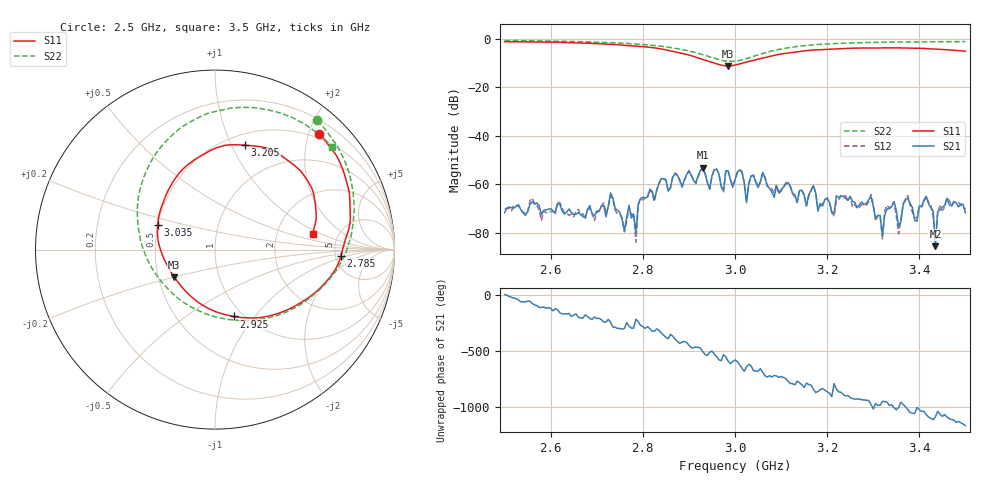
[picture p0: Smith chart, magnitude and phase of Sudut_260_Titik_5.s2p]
# Hz S RI R 50
! CMT, C1220, 16058040, 17.2.0/1
! Date: 15/08/2018 10:26:55
! Data: Format (Calibration Info)
! Freq  S11: Re/Im (F2)  S21: Re/Im (F2)  S12: Re/Im (F2)  S22: Re/Im (F2)
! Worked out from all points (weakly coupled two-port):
!   201 points, 2.5 GHz to 3.5 GHz, reference 50 ohm
!   highest |S21| = -53.16 dB at 2.93 GHz (marker M1); lowest = -85.5 dB at 3.435 GHz (marker M2)
!   lowest |S11| = -11.2 dB at 2.985 GHz (marker M3), VSWR 1.76, Z = 30.3 - j10.2 ohm
!   |S11| at or under -10 dB: 2.954 GHz to 3.017 GHz (63.09 MHz wide, 2.11 % of centre)
!   |S22| runs from -9.4 to -0.7 dB; largest |S21 - S12| = 0.00015
!   S11 on the Smith chart (normalised r, x): 2.5 GHz: 0.42, +2.19; 2.785 GHz: 5.62, -0.78; 2.925 GHz: 0.90, -0.79; 3.035 GHz: 0.50, +0.16; 3.205 GHz: 0.61, +1.13; 3.5 GHz: 3.23, +0.81
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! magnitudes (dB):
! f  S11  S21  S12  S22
! 2.5 GHz  -1.2  -71.7  -70.3  -0.7
! 2.67 GHz  -1.8  -73.3  -72.2  -1.3
! 2.73 GHz  -2.3  -63.6  -64.8  -1.7
! 2.785 GHz  -3.1  -80.1  -83.8  -2.2
! 2.795 GHz  -3.2  -66.0  -65.3  -2.3
! 2.835 GHz  -4.1  -59.5  -59.8  -3.0
! 2.925 GHz  -8.2  -54.1  -54.7  -6.3
! 2.93 GHz  -8.6  -53.2  -53.1  -6.6
! 2.985 GHz  -11.2  -54.4  -54.2  -9.3
! 3 GHz  -10.9  -58.2  -58.2  -9.3
! 3.025 GHz  -9.6  -67.6  -66.9  -8.2
! 3.035 GHz  -9.2  -56.6  -56.6  -7.6
! 3.17 GHz  -4.7  -60.5  -60.5  -2.5
! 3.205 GHz  -4.4  -67.4  -67.8  -2.1
! 3.295 GHz  -3.9  -65.1  -64.2  -1.6
! 3.32 GHz  -3.8  -80.8  -82.6  -1.5
! 3.335 GHz  -3.8  -70.0  -69.7  -1.4
! 3.355 GHz  -3.8  -77.4  -80.5  -1.4
! 3.415 GHz  -4.1  -65.0  -64.8  -1.3
! 3.435 GHz  -4.3  -85.5  -81.2  -1.3
! 3.46 GHz  -4.6  -65.7  -65.7  -1.2
! 3.5 GHz  -5.2  -71.7  -70.2  -1.2
